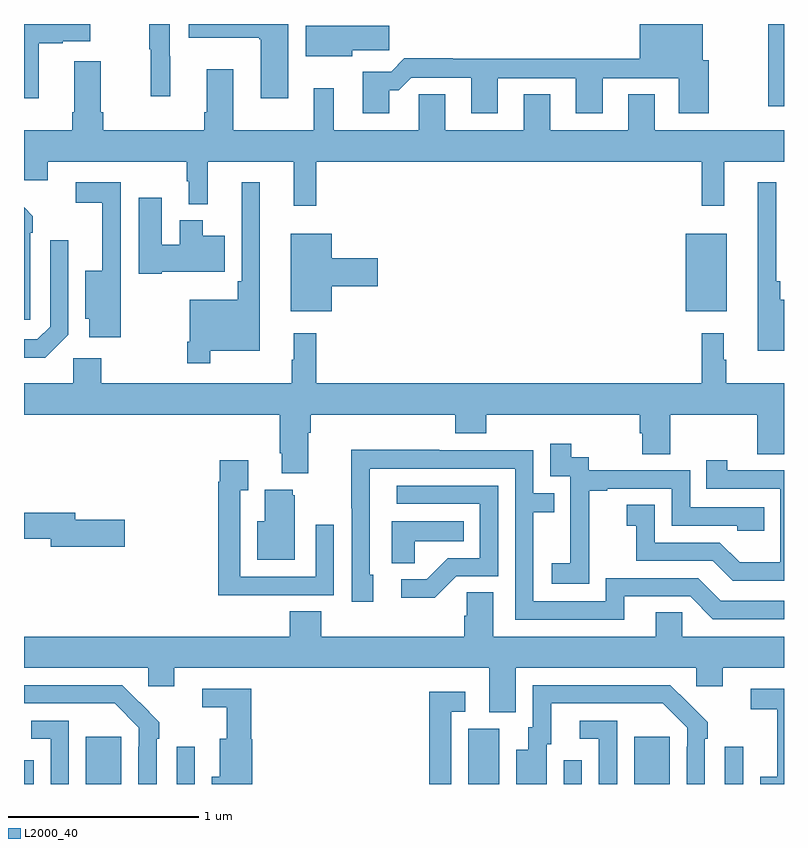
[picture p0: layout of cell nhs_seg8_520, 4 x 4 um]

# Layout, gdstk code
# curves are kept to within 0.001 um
import gdstk
lib = gdstk.Library(unit=1e-6, precision=1e-09)
def R(c, l, rs):  # rectangles x0, y0, x1, y1
    for r in rs: c.add(gdstk.rectangle(r[:2], r[2:], *l))
def P(c, l, *ps):  # polygons
    for p in ps: c.add(gdstk.Polygon(p, *l))
L2000_40 = (2000, 40)

nhs_seg8_520 = lib.new_cell('nhs_seg8_520')
R(nhs_seg8_520, L2000_40, [(145,1103.9,145.05,1104.025), (145.325,1103.9,145.513,1104.148), (145.803,1103.9,145.899,1104.097), (147.338,1103.9,147.502,1104.192), (147.84,1103.9,147.936,1104.025), (148.211,1103.9,148.399,1104.148), (148.689,1103.9,148.785,1104.097), (148.484,1106.387,148.699,1106.797), (148.917,1107.468,149,1107.9)])
P(nhs_seg8_520, L2000_40, [(146.923,1107.551),(146.972,1107.551),(147.039,1107.618),(147.353,1107.618),(147.353,1107.429),(147.493,1107.429),(147.493,1107.615),(147.905,1107.615),(147.905,1107.429),(148.045,1107.429),(148.045,1107.615),(148.445,1107.615),(148.445,1107.429),(148.605,1107.429),(148.605,1107.708),(148.573,1107.708),(148.573,1107.9),(148.241,1107.9),(148.241,1107.716),(147.257,1107.716),(147.257,1107.719),(147.002,1107.719),(146.932,1107.649),(146.783,1107.649),(146.783,1107.429),(146.923,1107.429)],
  [(146.392,1107.9),(145.866,1107.9),(145.866,1107.827),(146.239,1107.827),(146.239,1107.82),(146.246,1107.82),(146.246,1107.51),(146.392,1107.51)],
  [(145.769,1107.731),(145.767,1107.731),(145.767,1107.9),(145.659,1107.9),(145.659,1107.768),(145.666,1107.768),(145.666,1107.519),(145.769,1107.519)],
  [(145.078,1107.799),(145.205,1107.799),(145.205,1107.809),(145.348,1107.809),(145.348,1107.9),(145,1107.9),(145,1107.51),(145.078,1107.51)],
  [(146.728,1107.763),(146.923,1107.763),(146.923,1107.892),(146.484,1107.892),(146.484,1107.731),(146.728,1107.731)],
  [(146.537,1107.176),(148.567,1107.176),(148.567,1106.943),(148.685,1106.943),(148.685,1107.176),(149,1107.176),(149,1107.34),(148.321,1107.34),(148.321,1107.53),(148.181,1107.53),(148.181,1107.34),(147.769,1107.34),(147.769,1107.53),(147.629,1107.53),(147.629,1107.34),(147.217,1107.34),(147.217,1107.53),(147.078,1107.53),(147.078,1107.34),(146.629,1107.34),(146.629,1107.562),(146.525,1107.562),(146.525,1107.34),(146.101,1107.34),(146.101,1107.661),(145.961,1107.661),(145.961,1107.436),(145.949,1107.436),(145.949,1107.34),(145.418,1107.34),(145.418,1107.436),(145.405,1107.436),(145.405,1107.703),(145.265,1107.703),(145.265,1107.436),(145.253,1107.436),(145.253,1107.34),(145,1107.34),(145,1107.078),(145.126,1107.078),(145.126,1107.176),(145.857,1107.176),(145.857,1107.073),(145.868,1107.073),(145.868,1106.951),(145.967,1106.951),(145.967,1107.176),(146.42,1107.176),(146.42,1106.943),(146.537,1106.943)],
  [(145.981,1106.18),(146.242,1106.18),(146.242,1107.067),(146.145,1107.067),(146.145,1106.545),(146.125,1106.545),(146.125,1106.449),(145.872,1106.449),(145.872,1106.227),(145.86,1106.227),(145.86,1106.115),(145.981,1106.115)],
  [(149,1106.449),(148.979,1106.449),(148.979,1106.545),(148.959,1106.545),(148.959,1107.067),(148.862,1107.067),(148.862,1106.18),(149,1106.18)],
  [(145.51,1106.449),(145.509,1106.449),(145.509,1107.066),(145.272,1107.066),(145.272,1106.958),(145.412,1106.958),(145.412,1106.602),(145.322,1106.602),(145.322,1106.349),(145.343,1106.349),(145.343,1106.252),(145.51,1106.252)],
  [(145.726,1106.597),(146.056,1106.597),(146.056,1106.785),(145.942,1106.785),(145.942,1106.866),(145.82,1106.866),(145.82,1106.737),(145.726,1106.737),(145.726,1106.986),(145.604,1106.986),(145.604,1106.585),(145.726,1106.585)],
  [(145.032,1106.801),(145.047,1106.801),(145.047,1106.889),(145,1106.936),(145,1106.343),(145.032,1106.343)],
  [(146.62,1106.519),(146.863,1106.519),(146.863,1106.666),(146.62,1106.666),(146.62,1106.797),(146.405,1106.797),(146.405,1106.387),(146.62,1106.387)],
  [(145.233,1106.265),(145.233,1106.761),(145.137,1106.761),(145.137,1106.307),(145.071,1106.241),(145,1106.241),(145,1106.144),(145.112,1106.144)],
  [(146.497,1105.748),(146.51,1105.748),(146.51,1105.844),(147.269,1105.844),(147.269,1105.745),(147.434,1105.745),(147.434,1105.844),(148.241,1105.844),(148.241,1105.746),(148.253,1105.746),(148.253,1105.636),(148.401,1105.636),(148.401,1105.844),(148.858,1105.844),(148.858,1105.636),(149,1105.636),(149,1106.008),(148.696,1106.008),(148.696,1106.132),(148.684,1106.132),(148.684,1106.272),(148.567,1106.272),(148.567,1106.008),(146.537,1106.008),(146.537,1106.272),(146.42,1106.272),(146.42,1106.132),(146.409,1106.132),(146.409,1106.008),(145.407,1106.008),(145.407,1106.14),(145.26,1106.14),(145.26,1106.008),(145,1106.008),(145,1105.844),(146.345,1105.844),(146.345,1105.642),(146.357,1105.642),(146.357,1105.535),(146.497,1105.535)],
  [(147.975,1105.159),(147.974,1105.159),(147.974,1105.443),(148.069,1105.443),(148.069,1105.455),(148.41,1105.455),(148.41,1105.26),(148.755,1105.26),(148.755,1105.233),(148.895,1105.233),(148.895,1105.356),(148.506,1105.356),(148.506,1105.551),(147.972,1105.551),(147.972,1105.62),(147.88,1105.62),(147.88,1105.69),(147.771,1105.69),(147.771,1105.521),(147.876,1105.521),(147.876,1105.292),(147.875,1105.292),(147.875,1105.063),(147.777,1105.063),(147.777,1104.953),(147.975,1104.953)],
  [(148.159,1104.888),(148.506,1104.888),(148.626,1104.768),(149,1104.768),(149,1104.864),(148.668,1104.864),(148.548,1104.984),(148.062,1104.984),(148.062,1104.861),(147.681,1104.861),(147.681,1105.33),(147.791,1105.33),(147.791,1105.431),(147.681,1105.431),(147.681,1105.656),(147.185,1105.656),(147.185,1105.658),(146.722,1105.658),(146.722,1105.351),(146.724,1105.351),(146.724,1104.858),(146.839,1104.858),(146.839,1105.002),(146.82,1105.002),(146.82,1105.56),(147.585,1105.56),(147.585,1104.765),(148.159,1104.765)],
  [(149,1105.551),(148.702,1105.551),(148.702,1105.603),(148.591,1105.603),(148.591,1105.455),(148.98,1105.455),(148.98,1105.066),(148.766,1105.066),(148.662,1105.17),(148.32,1105.17),(148.32,1105.369),(148.173,1105.369),(148.173,1105.259),(148.222,1105.259),(148.222,1105.074),(148.625,1105.074),(148.73,1104.969),(149,1104.969)],
  [(146.315,1104.894),(146.631,1104.894),(146.631,1105.264),(146.535,1105.264),(146.535,1104.99),(146.139,1104.99),(146.139,1105.447),(146.179,1105.447),(146.179,1105.603),(146.031,1105.603),(146.031,1105.49),(146.023,1105.49),(146.023,1104.893),(146.315,1104.893)],
  [(147.276,1104.993),(147.495,1104.993),(147.495,1105.47),(146.961,1105.47),(146.961,1105.374),(147.399,1105.374),(147.399,1105.089),(147.23,1105.089),(147.119,1104.978),(146.985,1104.978),(146.985,1104.881),(147.163,1104.881)],
  [(146.425,1105.419),(146.414,1105.419),(146.414,1105.45),(146.267,1105.45),(146.267,1105.282),(146.228,1105.282),(146.228,1105.079),(146.425,1105.079)],
  [(145.531,1105.292),(145.27,1105.292),(145.27,1105.328),(145,1105.328),(145,1105.192),(145.142,1105.192),(145.142,1105.15),(145.531,1105.15)],
  [(147.057,1105.178),(147.314,1105.178),(147.314,1105.282),(146.936,1105.282),(146.936,1105.063),(147.057,1105.063)],
  [(147.589,1104.512),(148.539,1104.512),(148.539,1104.414),(148.678,1104.414),(148.678,1104.512),(149,1104.512),(149,1104.676),(148.464,1104.676),(148.464,1104.803),(148.325,1104.803),(148.325,1104.676),(147.469,1104.676),(147.469,1104.908),(147.33,1104.908),(147.33,1104.785),(147.317,1104.785),(147.317,1104.676),(146.564,1104.676),(146.564,1104.809),(146.399,1104.809),(146.399,1104.676),(145,1104.676),(145,1104.512),(145.653,1104.512),(145.653,1104.414),(145.792,1104.414),(145.792,1104.512),(147.449,1104.512),(147.449,1104.277),(147.589,1104.277)],
  [(147.751,1104.108),(147.775,1104.108),(147.775,1104.324),(148.363,1104.324),(148.491,1104.195),(148.491,1104.095),(148.488,1104.095),(148.488,1103.9),(148.584,1103.9),(148.584,1104.137),(148.599,1104.137),(148.599,1104.225),(148.402,1104.42),(147.678,1104.42),(147.678,1104.198),(147.653,1104.198),(147.653,1104.079),(147.59,1104.079),(147.59,1103.9),(147.751,1103.9)],
  [(145.698,1104.137),(145.713,1104.137),(145.713,1104.225),(145.516,1104.42),(145,1104.42),(145,1104.324),(145.477,1104.324),(145.605,1104.195),(145.605,1104.095),(145.602,1104.095),(145.602,1103.9),(145.698,1103.9)],
  [(149,1104.402),(148.824,1104.402),(148.824,1104.294),(148.964,1104.294),(148.964,1103.938),(148.874,1103.938),(148.874,1103.9),(149,1103.9)],
  [(146.201,1104.135),(146.195,1104.135),(146.195,1104.402),(145.938,1104.402),(145.938,1104.305),(146.067,1104.305),(146.067,1104.139),(146.03,1104.139),(146.03,1103.938),(145.988,1103.938),(145.988,1103.9),(146.201,1103.9)],
  [(147.249,1104.279),(147.322,1104.279),(147.322,1104.385),(147.133,1104.385),(147.133,1103.9),(147.249,1103.9)],
  [(145.236,1104.234),(145.038,1104.234),(145.038,1104.138),(145.14,1104.138),(145.14,1103.9),(145.236,1103.9)],
  [(148.122,1104.234),(147.924,1104.234),(147.924,1104.138),(148.026,1104.138),(148.026,1103.9),(148.122,1103.9)])

lib.write_gds('nhs_seg8_520.gds')
